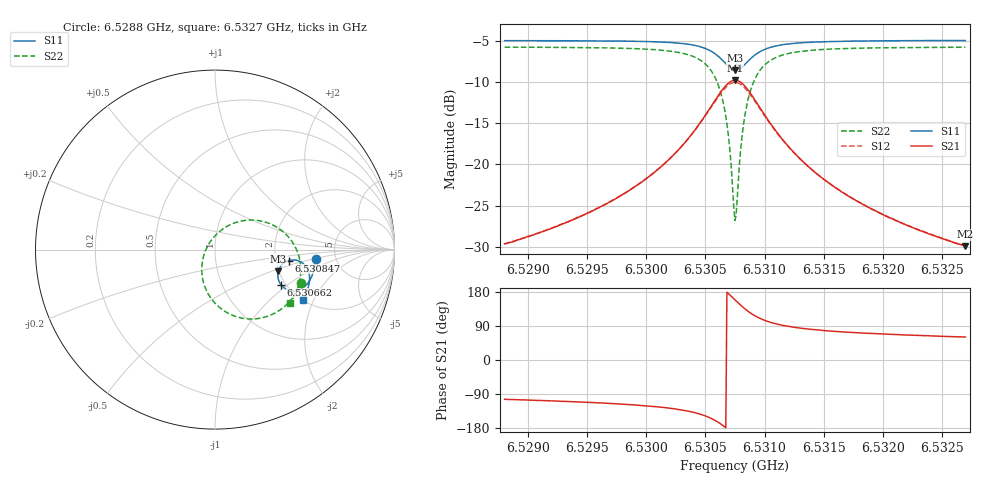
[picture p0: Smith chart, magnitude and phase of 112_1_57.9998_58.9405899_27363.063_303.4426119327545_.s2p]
#  HZ  S  RI  R  50.00
! Rohde & Schwarz Vector Network Analyzer
! Rohde-Schwarz,ZNB20-2Port,1311601062101988,3.16
! Created: UTC 3/21/2024, 12:55:15 AM
! freq[Hz]  re:S11  im:S11  re:S21  im:S21  re:S12  im:S12  re:S22  im:S22
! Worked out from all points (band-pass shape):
!   401 points, 6.5288 GHz to 6.5327 GHz, reference 50 ohm
!   highest |S21| = -9.78 dB at 6.53075 GHz (marker M1); lowest = -29.9 dB at 6.5327 GHz (marker M2)
!   |S21| within 3 dB of the highest: 6.530556 GHz to 6.530946 GHz (389.4 kHz wide, 0.00596 % of centre)
!   lowest |S11| = -8.6 dB at 6.53075 GHz (marker M3), VSWR 2.19, Z = 99.3 - j27.9 ohm
!   |S11| at or under -10 dB: nowhere
!   |S22| runs from -26.8 to -5.8 dB; largest |S21 - S12| = 0.013
!   S11 on the Smith chart (normalised r, x): 6.5288 GHz: 3.48, -0.55; 6.530662 GHz: 1.89, -0.89; 6.530847 GHz: 2.35, -0.35; 6.5327 GHz: 1.99, -1.66
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6.5287997e9  0.5606 -0.0542  -0.00773 -0.032  -0.00851 -0.0318  0.4806 -0.1834
6.5294531e9  0.5513 -0.1098  -0.0176 -0.0455  -0.0186 -0.0452  0.4484 -0.2457
6.5298334e9  0.5398 -0.1467  -0.031 -0.0604  -0.0327 -0.0597  0.4125 -0.2926
6.5301064e9  0.524 -0.1779  -0.0527 -0.0783  -0.055 -0.0768  0.3632 -0.3356
6.5303307e9  0.4968 -0.2083  -0.0942 -0.0992  -0.0975 -0.0958  0.2788 -0.3759
6.5304964e9  0.4514 -0.2284  -0.1663 -0.1068  -0.1687 -0.0996  0.1464 -0.3809
6.530594e9  0.4042 -0.2234  -0.2398 -0.0795  -0.2389 -0.069  0.0233 -0.321
6.5306622e9  0.3668 -0.1947  -0.2945 -0.0184  -0.288 -0.00737  -0.0564 -0.2069
6.5306915e9  0.3552 -0.1734  -0.3092 0.0222  -0.3001 0.0317  -0.0726 -0.1368
6.5307305e9  0.3498 -0.1387  -0.3109 0.0852  -0.2991 0.0914  -0.0628 -0.0333
6.53075e9  0.3526 -0.1208  -0.3024 0.1169  -0.2901 0.1209  -0.0424 0.0171
6.5307597e9  0.3555 -0.112  -0.2956 0.1321  -0.2834 0.135  -0.0287 0.0405
6.5307695e9  0.3593 -0.1036  -0.2875 0.1464  -0.2755 0.1482  -0.0125 0.0624
6.5308085e9  0.3816 -0.0764  -0.2442 0.1926  -0.234 0.1909  0.0668 0.1296
6.5308475e9  0.4098 -0.0614  -0.1927 0.2174  -0.1854 0.214  0.1563 0.1608
6.5309157e9  0.4555 -0.0599  -0.1132 0.2203  -0.1093 0.2168  0.2898 0.1502
6.5310133e9  0.4958 -0.0818  -0.0444 0.1883  -0.0427 0.1863  0.4008 0.0796
6.5311595e9  0.5199 -0.1183  -0.00281 0.1393  -0.00164 0.1388  0.4619 -0.0198
6.5314033e9  0.5269 -0.1623  0.0153 0.0914  0.0163 0.091  0.4781 -0.1208
6.5317154e9  0.5218 -0.2008  0.0185 0.0612  0.0195 0.061  0.4677 -0.1916
6.5320567e9  0.5117 -0.2333  0.0179 0.044  0.0187 0.0437  0.4508 -0.2396
6.5327002e9  0.4886 -0.2835  0.0156 0.0278  0.0164 0.0275  0.4175 -0.2997
